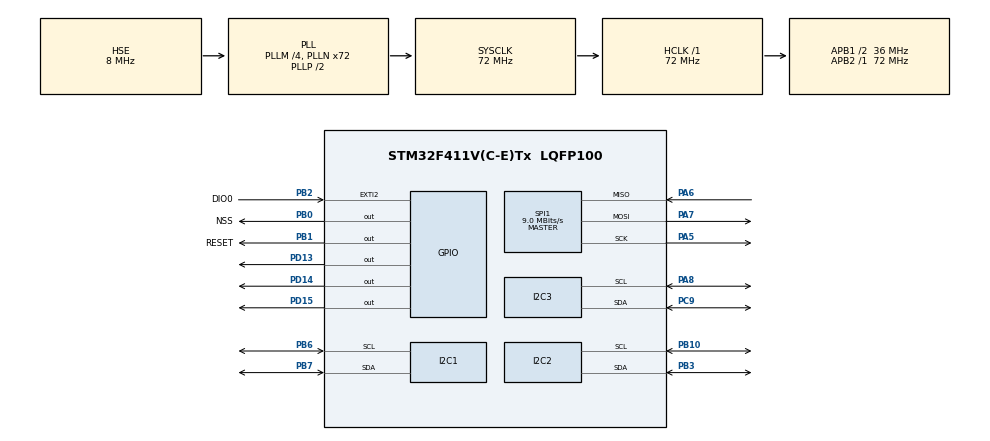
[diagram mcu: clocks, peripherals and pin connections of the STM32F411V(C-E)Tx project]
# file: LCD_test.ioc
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Mcu.Family=STM32F4
Mcu.Name=STM32F411V(C-E)Tx
Mcu.Package=LQFP100
NVIC.EXTI2_IRQn=true\:0\:0\:false\:false\:true\:true\:true\:true
NVIC.PriorityGroup=NVIC_PRIORITYGROUP_4
NVIC.SPI1_IRQn=true\:0\:0\:false\:false\:true\:true\:true\:true
PA13.Mode=Serial_Wire
PA13.Signal=SYS_JTMS-SWDIO
PA14.Mode=Serial_Wire
PA14.Signal=SYS_JTCK-SWCLK
PA5.Mode=Full_Duplex_Master
PA5.Signal=SPI1_SCK
PA6.Mode=Full_Duplex_Master
PA6.Signal=SPI1_MISO
PA7.Mode=Full_Duplex_Master
PA7.Signal=SPI1_MOSI
PA8.Mode=I2C
PA8.Signal=I2C3_SCL
PB0.GPIO_Label=NSS
PB0.PinState=GPIO_PIN_SET
PB0.Signal=GPIO_Output
PB1.GPIO_Label=RESET
PB1.PinState=GPIO_PIN_SET
PB1.Signal=GPIO_Output
PB10.Mode=I2C
PB10.Signal=I2C2_SCL
PB2.GPIO_Label=DIO0
PB2.Signal=GPXTI2
PB3.Mode=I2C
PB3.Signal=I2C2_SDA
PB6.Mode=I2C
PB6.Signal=I2C1_SCL
PB7.Mode=I2C
PB7.Signal=I2C1_SDA
PC9.Mode=I2C
PC9.Signal=I2C3_SDA
PD13.Signal=GPIO_Output
PD14.Signal=GPIO_Output
PD15.Signal=GPIO_Output
PH0\ -\ OSC_IN.Mode=HSE-External-Oscillator
PH0\ -\ OSC_IN.Signal=RCC_OSC_IN
PH1\ -\ OSC_OUT.Mode=HSE-External-Oscillator
PH1\ -\ OSC_OUT.Signal=RCC_OSC_OUT
ProjectManager.HeapSize=0x200
ProjectManager.StackSize=0x400
ProjectManager.TargetToolchain=STM32CubeIDE
RCC.48MHZClocksFreq_Value=36000000
RCC.AHBFreq_Value=72000000
RCC.APB1CLKDivider=RCC_HCLK_DIV2
RCC.APB1Freq_Value=36000000
RCC.APB1TimFreq_Value=72000000
RCC.APB2Freq_Value=72000000
RCC.APB2TimFreq_Value=72000000
RCC.CortexFreq_Value=72000000
RCC.HCLKFreq_Value=72000000
RCC.HSE_VALUE=8000000
RCC.HSI_VALUE=16000000
RCC.LSE_VALUE=32768
RCC.PLLM=4
RCC.PLLN=72
RCC.PLLSourceVirtual=RCC_PLLSOURCE_HSE
RCC.SYSCLKFreq_VALUE=72000000
RCC.SYSCLKSource=RCC_SYSCLKSOURCE_PLLCLK
RCC.VCOOutputFreq_Value=144000000
SPI1.BaudRatePrescaler=SPI_BAUDRATEPRESCALER_8
SPI1.CalculateBaudRate=9.0 MBits/s
SPI1.Direction=SPI_DIRECTION_2LINES
SPI1.Mode=SPI_MODE_MASTER
SPI1.VirtualType=VM_MASTER
board=custom

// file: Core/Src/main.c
/* USER CODE BEGIN Header */
/**
  ******************************************************************************
  * @file           : main.c
  * @brief          : Main program body
  ******************************************************************************
  * @attention
  *
  * Copyright (c) 2023 STMicroelectronics.
  * All rights reserved.
  *
  * This software is licensed under terms that can be found in the LICENSE file
  * in the root directory of this software component.
  * If no LICENSE file comes with this software, it is provided AS-IS.
  *
  ******************************************************************************
  */
/* USER CODE END Header */
#include "main.h"

/* USER CODE BEGIN Includes */
#include "i2c-lcd.h"
#include "mcp9808.h"
#include "BMP280_STM32.h"
#include "LoRa.h"
#include "stdio.h"
/* USER CODE END Includes */

I2C_HandleTypeDef hi2c1;
I2C_HandleTypeDef hi2c2;
I2C_HandleTypeDef hi2c3;

SPI_HandleTypeDef hspi1;

/* USER CODE BEGIN PV */
int LoRa_status = 0;
LoRa myLora;
uint8_t data = 1;
/* USER CODE END PV */

void SystemClock_Config(void);
static void MX_GPIO_Init(void);
static void MX_I2C1_Init(void);
static void MX_I2C2_Init(void);
static void MX_I2C3_Init(void);
static void MX_SPI1_Init(void);

/* USER CODE BEGIN 0 */
float Temperature, Pressure, Humidity;

/* USER CODE END 0 */

int main(void)
{

  /* MCU Configuration--------------------------------------------------------*/

  /* Reset of all peripherals, Initializes the Flash interface and the Systick. */
  HAL_Init();

  /* Configure the system clock */
  SystemClock_Config();

  /* Initialize all configured peripherals */
  MX_GPIO_Init();
  MX_I2C1_Init();
  MX_I2C2_Init();
  MX_I2C3_Init();
  MX_SPI1_Init();
  /* USER CODE BEGIN 2 */
  myLora = newLoRa();
  myLora.CS_port         = NSS_GPIO_Port;
  myLora.CS_pin          = NSS_Pin;
  myLora.reset_port      = RESET_GPIO_Port;
  myLora.reset_pin       = RESET_Pin;
  myLora.DIO0_port       = DIO0_GPIO_Port;
  myLora.DIO0_pin        = DIO0_Pin;
  myLora.hSPIx           = &hspi1;

    if (LoRa_init(&myLora) == LORA_OK) {
    	LoRa_status = 1;
    } else {
    	HAL_GPIO_TogglePin(GPIOD, GPIO_PIN_13);
    }
    //  MCP9808_HandleTypeDef mcp9808 = mcp9808_init();
//  lcd_init();
  int ret = BMP280_Config(OSRS_16, OSRS_16, OSRS_OFF, MODE_NORMAL, T_SB_1000, IIR_16);
//  char msgstr[64];

  /* USER CODE END 2 */

  /* Infinite loop */
  /* USER CODE BEGIN WHILE */
  while (1)
  {
	  if (LoRa_status) {
	  	HAL_Delay(1000);

		BMP280_Measure();
//		HAL_Delay(500);
//		char info[255] = "";

//	    sprintf(msgstr, "%f Pa", (float) Pressure);
//	    sprintf(info, "%f C", (float) Temperature);
		data = (uint8_t) Temperature;
	  	HAL_GPIO_TogglePin(GPIOD, GPIO_PIN_14);
	  	LoRa_transmit(&myLora, &data, 1, 100);

	  }
//	float temp = mcp9808_read_temp(&mcp9808);
//	BMP280_Measure();
//	HAL_Delay(500);
//	char info[255] = "";
//
//    sprintf(msgstr, "%f Pa", (float) Pressure);
//    sprintf(data, "%f C", (float) Temperature);
//    lcd_put_cur(0, 0);
//    lcd_send_string(msgstr);
//    lcd_put_cur(1, 0);
//    lcd_send_string(data);
//    HAL_Delay(1000);
//    lcd_clear();
//    mcp9808.value = 0;
//    mcp9808.value_dec = 0.0625;

    /* USER CODE END WHILE */

  }
}

void SystemClock_Config(void)
{
  RCC_OscInitTypeDef RCC_OscInitStruct = {0};
  RCC_ClkInitTypeDef RCC_ClkInitStruct = {0};

  /** Configure the main internal regulator output voltage
  */
  __HAL_RCC_PWR_CLK_ENABLE();
  __HAL_PWR_VOLTAGESCALING_CONFIG(PWR_REGULATOR_VOLTAGE_SCALE1);

  /** Initializes the RCC Oscillators according to the specified parameters
  * in the RCC_OscInitTypeDef structure.
  */
  RCC_OscInitStruct.OscillatorType = RCC_OSCILLATORTYPE_HSE;
  RCC_OscInitStruct.HSEState = RCC_HSE_ON;
  RCC_OscInitStruct.PLL.PLLState = RCC_PLL_ON;
  RCC_OscInitStruct.PLL.PLLSource = RCC_PLLSOURCE_HSE;
  RCC_OscInitStruct.PLL.PLLM = 4;
  RCC_OscInitStruct.PLL.PLLN = 72;
  RCC_OscInitStruct.PLL.PLLP = RCC_PLLP_DIV2;
  RCC_OscInitStruct.PLL.PLLQ = 4;
  if (HAL_RCC_OscConfig(&RCC_OscInitStruct) != HAL_OK)
  {
    Error_Handler();
  }

  /** Initializes the CPU, AHB and APB buses clocks
  */
  RCC_ClkInitStruct.ClockType = RCC_CLOCKTYPE_HCLK|RCC_CLOCKTYPE_SYSCLK
                              |RCC_CLOCKTYPE_PCLK1|RCC_CLOCKTYPE_PCLK2;
  RCC_ClkInitStruct.SYSCLKSource = RCC_SYSCLKSOURCE_PLLCLK;
  RCC_ClkInitStruct.AHBCLKDivider = RCC_SYSCLK_DIV1;
  RCC_ClkInitStruct.APB1CLKDivider = RCC_HCLK_DIV2;
  RCC_ClkInitStruct.APB2CLKDivider = RCC_HCLK_DIV1;

  if (HAL_RCC_ClockConfig(&RCC_ClkInitStruct, FLASH_LATENCY_2) != HAL_OK)
  {
    Error_Handler();
  }
}

static void MX_I2C1_Init(void)
{

  hi2c1.Instance = I2C1;
  hi2c1.Init.ClockSpeed = 100000;
  hi2c1.Init.DutyCycle = I2C_DUTYCYCLE_2;
  hi2c1.Init.OwnAddress1 = 0;
  hi2c1.Init.AddressingMode = I2C_ADDRESSINGMODE_7BIT;
  hi2c1.Init.DualAddressMode = I2C_DUALADDRESS_DISABLE;
  hi2c1.Init.OwnAddress2 = 0;
  hi2c1.Init.GeneralCallMode = I2C_GENERALCALL_DISABLE;
  hi2c1.Init.NoStretchMode = I2C_NOSTRETCH_DISABLE;
  if (HAL_I2C_Init(&hi2c1) != HAL_OK)
  {
    Error_Handler();
  }

}

static void MX_I2C2_Init(void)
{

  hi2c2.Instance = I2C2;
  hi2c2.Init.ClockSpeed = 100000;
  hi2c2.Init.DutyCycle = I2C_DUTYCYCLE_2;
  hi2c2.Init.OwnAddress1 = 0;
  hi2c2.Init.AddressingMode = I2C_ADDRESSINGMODE_7BIT;
  hi2c2.Init.DualAddressMode = I2C_DUALADDRESS_DISABLE;
  hi2c2.Init.OwnAddress2 = 0;
  hi2c2.Init.GeneralCallMode = I2C_GENERALCALL_DISABLE;
  hi2c2.Init.NoStretchMode = I2C_NOSTRETCH_DISABLE;
  if (HAL_I2C_Init(&hi2c2) != HAL_OK)
  {
    Error_Handler();
  }

}

static void MX_I2C3_Init(void)
{

  hi2c3.Instance = I2C3;
  hi2c3.Init.ClockSpeed = 100000;
  hi2c3.Init.DutyCycle = I2C_DUTYCYCLE_2;
  hi2c3.Init.OwnAddress1 = 0;
  hi2c3.Init.AddressingMode = I2C_ADDRESSINGMODE_7BIT;
  hi2c3.Init.DualAddressMode = I2C_DUALADDRESS_DISABLE;
  hi2c3.Init.OwnAddress2 = 0;
  hi2c3.Init.GeneralCallMode = I2C_GENERALCALL_DISABLE;
  hi2c3.Init.NoStretchMode = I2C_NOSTRETCH_DISABLE;
  if (HAL_I2C_Init(&hi2c3) != HAL_OK)
  {
    Error_Handler();
  }

}

static void MX_SPI1_Init(void)
{

  /* SPI1 parameter configuration*/
  hspi1.Instance = SPI1;
  hspi1.Init.Mode = SPI_MODE_MASTER;
  hspi1.Init.Direction = SPI_DIRECTION_2LINES;
  hspi1.Init.DataSize = SPI_DATASIZE_8BIT;
  hspi1.Init.CLKPolarity = SPI_POLARITY_LOW;
  hspi1.Init.CLKPhase = SPI_PHASE_1EDGE;
  hspi1.Init.NSS = SPI_NSS_SOFT;
  hspi1.Init.BaudRatePrescaler = SPI_BAUDRATEPRESCALER_8;
  hspi1.Init.FirstBit = SPI_FIRSTBIT_MSB;
  hspi1.Init.TIMode = SPI_TIMODE_DISABLE;
  hspi1.Init.CRCCalculation = SPI_CRCCALCULATION_DISABLE;
  hspi1.Init.CRCPolynomial = 10;
  if (HAL_SPI_Init(&hspi1) != HAL_OK)
  {
    Error_Handler();
  }

}

static void MX_GPIO_Init(void)
{
  GPIO_InitTypeDef GPIO_InitStruct = {0};

  /* GPIO Ports Clock Enable */
  __HAL_RCC_GPIOH_CLK_ENABLE();
  __HAL_RCC_GPIOA_CLK_ENABLE();
  __HAL_RCC_GPIOB_CLK_ENABLE();
  __HAL_RCC_GPIOD_CLK_ENABLE();
  __HAL_RCC_GPIOC_CLK_ENABLE();

  /*Configure GPIO pin Output Level */
  HAL_GPIO_WritePin(GPIOB, NSS_Pin|RESET_Pin, GPIO_PIN_SET);

  /*Configure GPIO pin Output Level */
  HAL_GPIO_WritePin(GPIOD, GPIO_PIN_13|GPIO_PIN_14|GPIO_PIN_15, GPIO_PIN_RESET);

  /*Configure GPIO pins : NSS_Pin RESET_Pin */
  GPIO_InitStruct.Pin = NSS_Pin|RESET_Pin;
  GPIO_InitStruct.Mode = GPIO_MODE_OUTPUT_PP;
  GPIO_InitStruct.Pull = GPIO_NOPULL;
  GPIO_InitStruct.Speed = GPIO_SPEED_FREQ_LOW;
  HAL_GPIO_Init(GPIOB, &GPIO_InitStruct);

  /*Configure GPIO pin : DIO0_Pin */
  GPIO_InitStruct.Pin = DIO0_Pin;
  GPIO_InitStruct.Mode = GPIO_MODE_IT_RISING;
  GPIO_InitStruct.Pull = GPIO_NOPULL;
  HAL_GPIO_Init(DIO0_GPIO_Port, &GPIO_InitStruct);

  /*Configure GPIO pins : PD13 PD14 PD15 */
  GPIO_InitStruct.Pin = GPIO_PIN_13|GPIO_PIN_14|GPIO_PIN_15;
  GPIO_InitStruct.Mode = GPIO_MODE_OUTPUT_PP;
  GPIO_InitStruct.Pull = GPIO_NOPULL;
  GPIO_InitStruct.Speed = GPIO_SPEED_FREQ_LOW;
  HAL_GPIO_Init(GPIOD, &GPIO_InitStruct);

  /* EXTI interrupt init*/
  HAL_NVIC_SetPriority(EXTI2_IRQn, 0, 0);
  HAL_NVIC_EnableIRQ(EXTI2_IRQn);

}

void Error_Handler(void)
{
  __disable_irq();
  while (1)
  {
  }
}
